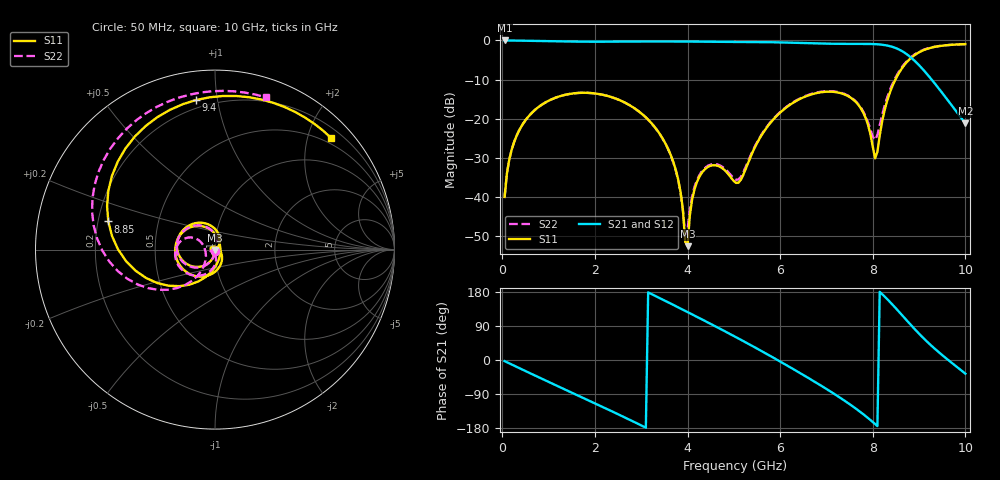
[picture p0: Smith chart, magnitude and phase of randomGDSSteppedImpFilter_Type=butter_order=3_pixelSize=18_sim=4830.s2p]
! freq	dB(S11)	phase(S11)	dB(S12)	phase(S12)
!  dB(S21)	phase(S21)	dB(S22)	phase(S22)
!S-par simulation data
#  GHz  S  DB  R 50
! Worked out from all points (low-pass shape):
!   200 points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, 50 MHz to 10 GHz, reference 50 ohm
!   highest |S21| = -0.01 dB at 50 MHz (marker M1); lowest = -21.2 dB at 10 GHz (marker M2)
!   |S21| within 3 dB of the highest: start of sweep to 8.67 GHz
!   lowest |S11| = -52.5 dB at 4 GHz (marker M3), VSWR 1.00, Z = 49.9 - j0.217 ohm
!   |S11| at or under -10 dB: start of sweep to 8.488 GHz
!   |S22| runs from -49.6 to -1.0 dB; largest |S21 - S12| = 0
!   S11 on the Smith chart (normalised r, x): 50 MHz: 1.00, -0.02; 8.85 GHz: 0.24, +0.12; 9.4 GHz: 0.15, +0.87; 10 GHz: 0.38, +2.43
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0.05  -39.93 -91.5  -0.01 -3.0  -0.01 -3.0  -39.93 -91.4
0.2  -27.99 -101.8  -0.03 -11.7  -0.03 -11.7  -27.99 -101.3
0.5  -20.38 -120.2  -0.08 -29.1  -0.08 -29.1  -20.38 -118.9
1.15  -14.61 -158.5  -0.23 -66.3  -0.23 -66.3  -14.61 -155.3
1.75  -13.35 166.6  -0.32 -100.2  -0.32 -100.2  -13.36 171.8
2.65  -15.88 112.9  -0.30 -151.9  -0.30 -151.9  -15.89 122.6
3.4  -23.86 64.9  -0.26 163.3  -0.26 163.3  -23.92 82.4
3.8  -35.59 34.9  -0.28 138.9  -0.28 138.9  -35.81 68.0
3.95  -51.38 -3.7  -0.29 129.6  -0.29 129.6  -49.60 111.2
4  -52.50 -113.3  -0.29 126.5  -0.29 126.5  -48.47 178.3
4.1  -40.55 -153.9  -0.30 120.3  -0.30 120.3  -39.73 -152.2
4.3  -33.92 -173.6  -0.32 107.8  -0.32 107.8  -33.57 -153.4
5.05  -36.36 73.2  -0.36 60.0  -0.36 60.0  -35.56 -134.0
5.9  -19.56 -79.3  -0.48 2.9  -0.48 2.9  -19.42 -97.2
6.7  -13.69 -146.6  -0.74 -54.1  -0.74 -54.1  -13.55 -143.9
7.2  -13.19 169.8  -0.86 -92.0  -0.86 -92.0  -13.07 -176.3
7.65  -15.90 124.3  -0.88 -129.7  -0.88 -129.7  -15.76 155.6
8.05  -30.09 12.1  -0.94 -169.0  -0.94 -169.0  -25.36 -167.1
8.35  -13.96 -117.7  -1.40 155.8  -1.40 155.8  -13.30 -126.4
8.85  -4.22 165.2  -4.61 88.8  -4.61 88.8  -4.05 -179.5
9.4  -1.51 97.1  -11.89 23.2  -11.89 23.2  -1.48 121.3
10  -0.94 43.9  -21.19 -36.1  -21.19 -36.1  -0.97 71.6
